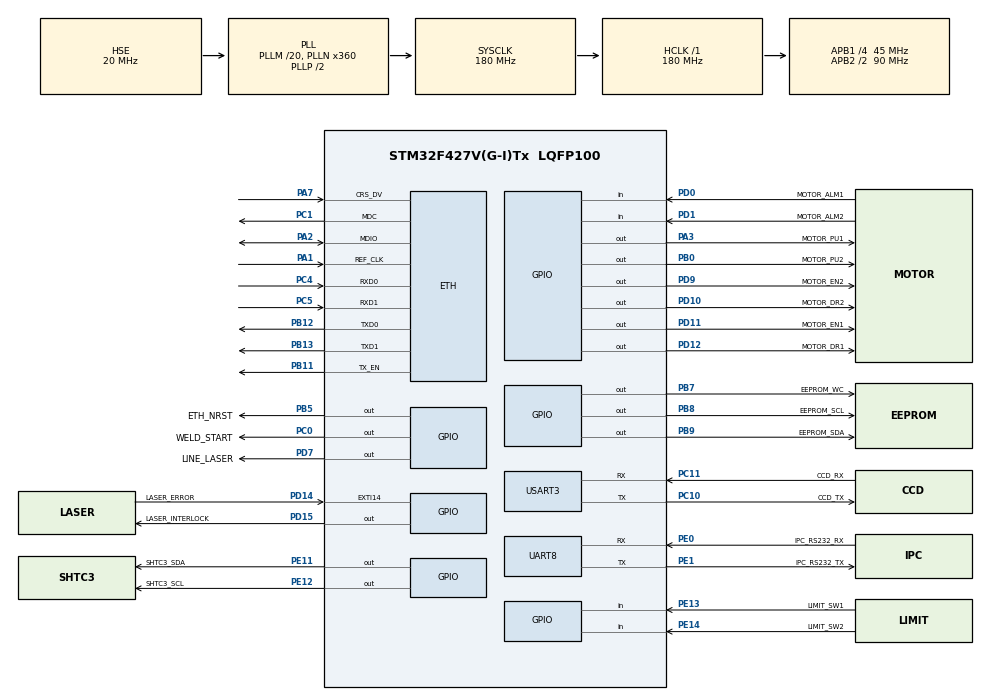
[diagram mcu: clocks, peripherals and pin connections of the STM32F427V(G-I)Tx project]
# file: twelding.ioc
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Dma.Request0=UART8_RX
Dma.Request1=USART3_RX
Dma.UART8_RX.0.Direction=DMA_PERIPH_TO_MEMORY
Dma.UART8_RX.0.FIFOMode=DMA_FIFOMODE_DISABLE
Dma.UART8_RX.0.Instance=DMA1_Stream6
Dma.UART8_RX.0.MemDataAlignment=DMA_MDATAALIGN_BYTE
Dma.UART8_RX.0.MemInc=DMA_MINC_ENABLE
Dma.UART8_RX.0.Mode=DMA_NORMAL
Dma.UART8_RX.0.PeriphDataAlignment=DMA_PDATAALIGN_BYTE
Dma.UART8_RX.0.PeriphInc=DMA_PINC_DISABLE
Dma.UART8_RX.0.Priority=DMA_PRIORITY_LOW
Dma.USART3_RX.1.Direction=DMA_PERIPH_TO_MEMORY
Dma.USART3_RX.1.FIFOMode=DMA_FIFOMODE_DISABLE
Dma.USART3_RX.1.Instance=DMA1_Stream1
Dma.USART3_RX.1.MemDataAlignment=DMA_MDATAALIGN_BYTE
Dma.USART3_RX.1.MemInc=DMA_MINC_ENABLE
Dma.USART3_RX.1.Mode=DMA_NORMAL
Dma.USART3_RX.1.PeriphDataAlignment=DMA_PDATAALIGN_BYTE
Dma.USART3_RX.1.PeriphInc=DMA_PINC_DISABLE
Dma.USART3_RX.1.Priority=DMA_PRIORITY_LOW
ETH.MediaInterface=ETH_MEDIA_INTERFACE_RMII
ETH.PHY_DUPLEX_STATUS=0x0010
ETH.PHY_Name_RMII=userPHY
ETH.PHY_SPEED_STATUS=0x0004
ETH.PHY_SR=31
ETH.PHY_User_Name=LAN8702A
ETH.PhyAddress=0
ETH.RxMode=ETH_RXINTERRUPT_MODE
FREERTOS.BinarySemaphores01=LaserAlarmBinarySem,Dynamic,NULL;MotorAlarm1BinarySem,Dynamic,NULL;MotorAlarm2BinarySem,Dynamic,NULL
FREERTOS.Mutexes01=IPCUartMutex,Dynamic,NULL;StepMotorXMutex,Dynamic,NULL;StepMotorYMutex,Dynamic,NULL;M24512Mutex,Dynamic,NULL;CCDUartMutex,Dynamic,NULL
FREERTOS.Queues01=IPCUartQueue,1,uint64_t,0,Dynamic,NULL,NULL;MotorControlQueue,20,uint64_t,0,Dynamic,NULL,NULL;CCDUartQueue,20,uint64_t,0,Dynamic,NULL,NULL;CmdhandleQueue,20,uint64_t,0,Dynamic,NULL,NULL;LaserEthernetQueue,20,uint64_t,0,Dynamic,NULL,NULL
FREERTOS.Tasks01=LwipTask,24,128,StartLwipTask,Default,NULL,Dynamic,NULL,NULL;SampleTask,8,128,StartSampleTask,Default,NULL,Dynamic,NULL,NULL;CmdHandleTask,8,128,StartCmdHandleTask,Default,NULL,Dynamic,NULL,NULL;ProtectTask,8,128,StartProtectTask,Default,NULL,Dynamic,NULL,NULL;MotorControlTask,8,128,StartMotorContorlTask,Default,NULL,Dynamic,NULL,NULL;IPCUartTask,8,128,StartIPCUartTask,Default,NULL,Dynamic,NULL,NULL;CCDUartTask,8,128,StartCCDUartTask,Default,NULL,Dynamic,NULL,NULL
FREERTOS.Timers01=TimeCountTimer,TimeCountCallback,osTimerPeriodic,Default,NULL,Dynamic,NULL;CheckCCDTimer,CheckCCDCallback,osTimerPeriodic,Default,NULL,Dynamic,NULL
FREERTOS.configMAX_TASK_NAME_LEN=32
FREERTOS.configUSE_NEWLIB_REENTRANT=1
LWIP.GATEWAY_ADDRESS=192.168.002.001
LWIP.IP_ADDRESS=192.168.002.038
LWIP.LWIP_DHCP=0
LWIP.NETMASK_ADDRESS=255.255.255.000
LWIP.Version=v2.1.2_Cube
Mcu.Family=STM32F4
Mcu.Name=STM32F427V(G-I)Tx
Mcu.Package=LQFP100
NVIC.DMA1_Stream1_IRQn=true\:5\:0\:false\:false\:true\:true\:false\:true
NVIC.DMA1_Stream6_IRQn=true\:5\:0\:true\:false\:true\:true\:false\:true
NVIC.ETH_IRQn=true\:5\:0\:false\:true\:true\:4\:true\:true\:true
NVIC.EXTI15_10_IRQn=true\:5\:0\:false\:true\:true\:2\:true\:true\:true
NVIC.PriorityGroup=NVIC_PRIORITYGROUP_4
NVIC.TIM6_DAC_IRQn=true\:15\:0\:false\:false\:true\:false\:false\:true
NVIC.TIM7_IRQn=true\:5\:0\:true\:true\:true\:3\:true\:true\:true
NVIC.TimeBase=TIM6_DAC_IRQn
NVIC.TimeBaseIP=TIM6
NVIC.UART8_IRQn=true\:5\:0\:true\:true\:true\:5\:true\:true\:true
NVIC.USART3_IRQn=true\:5\:0\:false\:true\:true\:1\:true\:true\:true
PA1.Mode=RMII
PA1.Signal=ETH_REF_CLK
PA13.Mode=Serial_Wire
PA13.Signal=SYS_JTMS-SWDIO
PA14.Mode=Serial_Wire
PA14.Signal=SYS_JTCK-SWCLK
PA2.Mode=RMII
PA2.Signal=ETH_MDIO
PA3.GPIO_Label=MOTOR_PU1
PA3.Signal=GPIO_Output
PA7.Mode=RMII
PA7.Signal=ETH_CRS_DV
PB0.GPIO_Label=MOTOR_PU2
PB0.Signal=GPIO_Output
PB11.Mode=RMII
PB11.Signal=ETH_TX_EN
PB12.Mode=RMII
PB12.Signal=ETH_TXD0
PB13.Mode=RMII
PB13.Signal=ETH_TXD1
PB5.GPIO_Label=ETH_NRST
PB5.PinState=GPIO_PIN_SET
PB5.Signal=GPIO_Output
PB7.GPIO_Label=EEPROM_WC
PB7.Signal=GPIO_Output
PB8.GPIO_Label=EEPROM_SCL
PB8.Signal=GPIO_Output
PB9.GPIO_Label=EEPROM_SDA
PB9.Signal=GPIO_Output
PC0.GPIO_Label=WELD_START
PC0.Signal=GPIO_Output
PC1.Mode=RMII
PC1.Signal=ETH_MDC
PC10.GPIO_Label=CCD_TX
PC10.Mode=Asynchronous
PC10.Signal=USART3_TX
PC11.GPIO_Label=CCD_RX
PC11.Mode=Asynchronous
PC11.Signal=USART3_RX
PC14/OSC32_IN.Mode=LSE-External-Oscillator
PC14/OSC32_IN.Signal=RCC_OSC32_IN
PC15/OSC32_OUT.Mode=LSE-External-Oscillator
PC15/OSC32_OUT.Signal=RCC_OSC32_OUT
PC4.Mode=RMII
PC4.Signal=ETH_RXD0
PC5.Mode=RMII
PC5.Signal=ETH_RXD1
PD0.GPIO_Label=MOTOR_ALM1
PD0.Signal=GPIO_Input
PD1.GPIO_Label=MOTOR_ALM2
PD1.Signal=GPIO_Input
PD10.GPIO_Label=MOTOR_DR2
PD10.GPIO_Speed=GPIO_SPEED_FREQ_LOW
PD10.Signal=GPIO_Output
PD11.GPIO_Label=MOTOR_EN1
PD11.Signal=GPIO_Output
PD12.GPIO_Label=MOTOR_DR1
PD12.Signal=GPIO_Output
PD14.GPIO_Label=LASER_ERROR
PD14.Signal=GPXTI14
PD15.GPIO_Label=LASER_INTERLOCK
PD15.Signal=GPIO_Output
PD7.GPIO_Label=LINE_LASER
PD7.Signal=GPIO_Output
PD9.GPIO_Label=MOTOR_EN2
PD9.Signal=GPIO_Output
PE0.GPIO_Label=IPC_RS232_RX
PE0.Mode=Asynchronous
PE0.Signal=UART8_RX
PE1.GPIO_Label=IPC_RS232_TX
PE1.Mode=Asynchronous
PE1.Signal=UART8_TX
PE11.GPIO_Label=SHTC3_SDA
PE11.Signal=GPIO_Output
PE12.GPIO_Label=SHTC3_SCL
PE12.Signal=GPIO_Output
PE13.GPIO_Label=LIMIT_SW1
PE13.Signal=GPIO_Input
PE14.GPIO_Label=LIMIT_SW2
PE14.Signal=GPIO_Input
PH0/OSC_IN.Mode=HSE-External-Oscillator
PH0/OSC_IN.Signal=RCC_OSC_IN
PH1/OSC_OUT.Mode=HSE-External-Oscillator
PH1/OSC_OUT.Signal=RCC_OSC_OUT
ProjectManager.HeapSize=0x200
ProjectManager.StackSize=0x400
ProjectManager.TargetToolchain=STM32CubeIDE
RCC.48MHZClocksFreq_Value=90000000
RCC.AHBFreq_Value=180000000
RCC.APB1CLKDivider=RCC_HCLK_DIV4
RCC.APB1Freq_Value=45000000
RCC.APB1TimFreq_Value=90000000
RCC.APB2CLKDivider=RCC_HCLK_DIV2
RCC.APB2Freq_Value=90000000
RCC.APB2TimFreq_Value=180000000
RCC.CortexFreq_Value=180000000
RCC.HCLKFreq_Value=180000000
RCC.HSE_VALUE=20000000
RCC.HSI_VALUE=16000000
RCC.PLLM=20
RCC.PLLN=360
RCC.PLLSourceVirtual=RCC_PLLSOURCE_HSE
RCC.RCC_RTC_Clock_SourceVirtual=RCC_RTCCLKSOURCE_LSE
RCC.SYSCLKFreq_VALUE=180000000
RCC.SYSCLKSource=RCC_SYSCLKSOURCE_PLLCLK
RCC.VCOOutputFreq_Value=360000000
RTC.Format=RTC_FORMAT_BIN
TIM7.AutoReloadPreload=TIM_AUTORELOAD_PRELOAD_ENABLE
TIM7.Period=10000
TIM7.Prescaler=9000
UART8.VirtualMode=Asynchronous
USART3.VirtualMode=VM_ASYNC
VP_FREERTOS_VS_CMSIS_V2.Mode=CMSIS_V2
VP_LWIP_VS_Enabled.Mode=Enabled
VP_RTC_VS_RTC_Activate.Mode=RTC_Enabled
VP_RTC_VS_RTC_Calendar.Mode=RTC_Calendar
VP_SYS_VS_tim6.Mode=TIM6
VP_TIM7_VS_ClockSourceINT.Mode=Enable_Timer
board=custom

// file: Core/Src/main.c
/* USER CODE BEGIN Header */
/**
  ******************************************************************************
  * @file           : main.c
  * @brief          : Main program body
  ******************************************************************************
  * @attention
  *
  * Copyright (c) 2022 STMicroelectronics.
  * All rights reserved.
  *
  * This software is licensed under terms that can be found in the LICENSE file
  * in the root directory of this software component.
  * If no LICENSE file comes with this software, it is provided AS-IS.
  *
  ******************************************************************************
  *
  * Company: Jacalt Laser Corp.
  * Author: J. Xu
  * Date: 20220506
  * Version: V1.2.0
  *
  */
/* USER CODE END Header */
#include "main.h"
#include "cmsis_os.h"
#include "lwip.h"

/* USER CODE BEGIN Includes */
#include <string.h>
#include "api.h"
#include "sysinit.h"
#include "cmd.h"
#include "algorithm.h"
#include "communicate.h"
#include "stepmotor.h"
#include "seamfind.h"
#include "tcp_client.h"
/* USER CODE END Includes */

RTC_HandleTypeDef hrtc;

TIM_HandleTypeDef htim7;

UART_HandleTypeDef huart8;
UART_HandleTypeDef huart3;
DMA_HandleTypeDef hdma_uart8_rx;
DMA_HandleTypeDef hdma_usart3_rx;

/* Definitions for LwipTask */
osThreadId_t LwipTaskHandle;
const osThreadAttr_t LwipTask_attributes = {
  .name = "LwipTask",
  .stack_size = 128 * 4,
  .priority = (osPriority_t) osPriorityNormal,
};
/* Definitions for SampleTask */
osThreadId_t SampleTaskHandle;
const osThreadAttr_t SampleTask_attributes = {
  .name = "SampleTask",
  .stack_size = 128 * 4,
  .priority = (osPriority_t) osPriorityLow,
};
/* Definitions for CmdHandleTask */
osThreadId_t CmdHandleTaskHandle;
const osThreadAttr_t CmdHandleTask_attributes = {
  .name = "CmdHandleTask",
  .stack_size = 128 * 4,
  .priority = (osPriority_t) osPriorityLow,
};
/* Definitions for ProtectTask */
osThreadId_t ProtectTaskHandle;
const osThreadAttr_t ProtectTask_attributes = {
  .name = "ProtectTask",
  .stack_size = 128 * 4,
  .priority = (osPriority_t) osPriorityLow,
};
/* Definitions for MotorControlTask */
osThreadId_t MotorControlTaskHandle;
const osThreadAttr_t MotorControlTask_attributes = {
  .name = "MotorControlTask",
  .stack_size = 128 * 4,
  .priority = (osPriority_t) osPriorityLow,
};
/* Definitions for IPCUartTask */
osThreadId_t IPCUartTaskHandle;
const osThreadAttr_t IPCUartTask_attributes = {
  .name = "IPCUartTask",
  .stack_size = 128 * 4,
  .priority = (osPriority_t) osPriorityLow,
};
/* Definitions for CCDUartTask */
osThreadId_t CCDUartTaskHandle;
const osThreadAttr_t CCDUartTask_attributes = {
  .name = "CCDUartTask",
  .stack_size = 128 * 4,
  .priority = (osPriority_t) osPriorityLow,
};
/* Definitions for IPCUartQueue */
osMessageQueueId_t IPCUartQueueHandle;
const osMessageQueueAttr_t IPCUartQueue_attributes = {
  .name = "IPCUartQueue"
};
/* Definitions for MotorControlQueue */
osMessageQueueId_t MotorControlQueueHandle;
const osMessageQueueAttr_t MotorControlQueue_attributes = {
  .name = "MotorControlQueue"
};
/* Definitions for CCDUartQueue */
osMessageQueueId_t CCDUartQueueHandle;
const osMessageQueueAttr_t CCDUartQueue_attributes = {
  .name = "CCDUartQueue"
};
/* Definitions for CmdhandleQueue */
osMessageQueueId_t CmdhandleQueueHandle;
const osMessageQueueAttr_t CmdhandleQueue_attributes = {
  .name = "CmdhandleQueue"
};
/* Definitions for LaserEthernetQueue */
osMessageQueueId_t LaserEthernetQueueHandle;
const osMessageQueueAttr_t LaserEthernetQueue_attributes = {
  .name = "LaserEthernetQueue"
};
/* Definitions for TimeCountTimer */
osTimerId_t TimeCountTimerHandle;
const osTimerAttr_t TimeCountTimer_attributes = {
  .name = "TimeCountTimer"
};
/* Definitions for CheckCCDTimer */
osTimerId_t CheckCCDTimerHandle;
const osTimerAttr_t CheckCCDTimer_attributes = {
  .name = "CheckCCDTimer"
};
/* Definitions for IPCUartMutex */
osMutexId_t IPCUartMutexHandle;
const osMutexAttr_t IPCUartMutex_attributes = {
  .name = "IPCUartMutex"
};
/* Definitions for StepMotorXMutex */
osMutexId_t StepMotorXMutexHandle;
const osMutexAttr_t StepMotorXMutex_attributes = {
  .name = "StepMotorXMutex"
};
/* Definitions for StepMotorYMutex */
osMutexId_t StepMotorYMutexHandle;
const osMutexAttr_t StepMotorYMutex_attributes = {
  .name = "StepMotorYMutex"
};
/* Definitions for M24512Mutex */
osMutexId_t M24512MutexHandle;
const osMutexAttr_t M24512Mutex_attributes = {
  .name = "M24512Mutex"
};
/* Definitions for CCDUartMutex */
osMutexId_t CCDUartMutexHandle;
const osMutexAttr_t CCDUartMutex_attributes = {
  .name = "CCDUartMutex"
};
/* Definitions for LaserAlarmBinarySem */
osSemaphoreId_t LaserAlarmBinarySemHandle;
const osSemaphoreAttr_t LaserAlarmBinarySem_attributes = {
  .name = "LaserAlarmBinarySem"
};
/* Definitions for MotorAlarm1BinarySem */
osSemaphoreId_t MotorAlarm1BinarySemHandle;
const osSemaphoreAttr_t MotorAlarm1BinarySem_attributes = {
  .name = "MotorAlarm1BinarySem"
};
/* Definitions for MotorAlarm2BinarySem */
osSemaphoreId_t MotorAlarm2BinarySemHandle;
const osSemaphoreAttr_t MotorAlarm2BinarySem_attributes = {
  .name = "MotorAlarm2BinarySem"
};
/* USER CODE BEGIN PV */
RTC_TimeTypeDef TimeNow;
RTC_DateTypeDef DateNow;

float shtc3_temp;
float shtc3_hum;

uint8_t CCD_rx_buffer[8000];
uint8_t IPC_rx_buffer[DMA_RECV_LEN] = {0};
uint32_t current_welding_length = 0;
uint8_t warning[WARNING_BYTE] = {0};
uint32_t total_welding_length;

uint8_t x_degree;
uint8_t y_degree;
/* USER CODE END PV */

void SystemClock_Config(void);
static void MX_GPIO_Init(void);
static void MX_RTC_Init(void);
static void MX_DMA_Init(void);
static void MX_UART8_Init(void);
static void MX_TIM7_Init(void);
static void MX_USART3_UART_Init(void);
void StartLwipTask(void *argument);
void StartSampleTask(void *argument);
void StartCmdHandleTask(void *argument);
void StartProtectTask(void *argument);
void StartMotorContorlTask(void *argument);
void StartIPCUartTask(void *argument);
void StartCCDUartTask(void *argument);
void TimeCountCallback(void *argument);
void CheckCCDCallback(void *argument);

static void MX_NVIC_Init(void);

int main(void)
{

  /* MCU Configuration--------------------------------------------------------*/

  /* Reset of all peripherals, Initializes the Flash interface and the Systick. */
  HAL_Init();

  /* Configure the system clock */
  SystemClock_Config();

  /* Initialize all configured peripherals */
  MX_GPIO_Init();
  MX_RTC_Init();
  MX_DMA_Init();
  MX_UART8_Init();
  MX_TIM7_Init();
  MX_USART3_UART_Init();

  /* Initialize interrupts */
  MX_NVIC_Init();
  /* USER CODE BEGIN 2 */

  //-- The hardware initialized successful.
  HAL_UART_Transmit(&huart8, (uint8_t*)"Hello World\r\n", sizeof("Hello World\r\n")-1, 50);
  software_init();    // system initialize
  get_eeprom_data();  // read EEPROM
  check_machine();    // self checking of board and the machines

  /* USER CODE END 2 */

  /* Init scheduler */
  osKernelInitialize();
  /* Create the mutex(es) */
  /* creation of IPCUartMutex */
  IPCUartMutexHandle = osMutexNew(&IPCUartMutex_attributes);

  /* creation of StepMotorXMutex */
  StepMotorXMutexHandle = osMutexNew(&StepMotorXMutex_attributes);

  /* creation of StepMotorYMutex */
  StepMotorYMutexHandle = osMutexNew(&StepMotorYMutex_attributes);

  /* creation of M24512Mutex */
  M24512MutexHandle = osMutexNew(&M24512Mutex_attributes);

  /* creation of CCDUartMutex */
  CCDUartMutexHandle = osMutexNew(&CCDUartMutex_attributes);

  /* Create the semaphores(s) */
  /* creation of LaserAlarmBinarySem */
  LaserAlarmBinarySemHandle = osSemaphoreNew(1, 1, &LaserAlarmBinarySem_attributes);

  /* creation of MotorAlarm1BinarySem */
  MotorAlarm1BinarySemHandle = osSemaphoreNew(1, 1, &MotorAlarm1BinarySem_attributes);

  /* creation of MotorAlarm2BinarySem */
  MotorAlarm2BinarySemHandle = osSemaphoreNew(1, 1, &MotorAlarm2BinarySem_attributes);

  /* Create the timer(s) */
  /* creation of TimeCountTimer */
  TimeCountTimerHandle = osTimerNew(TimeCountCallback, osTimerPeriodic, NULL, &TimeCountTimer_attributes);

  /* creation of CheckCCDTimer */
  CheckCCDTimerHandle = osTimerNew(CheckCCDCallback, osTimerPeriodic, NULL, &CheckCCDTimer_attributes);

  /* USER CODE BEGIN RTOS_TIMERS */
  /* start timers, add new ones, ... */
  osTimerStart(TimeCountTimerHandle, 1000);  // start time count each 1s
  osTimerStart(CheckCCDTimerHandle, 5000);   // read CCD data each 5s

  /* USER CODE END RTOS_TIMERS */

  /* Create the queue(s) */
  /* creation of IPCUartQueue */
  IPCUartQueueHandle = osMessageQueueNew (1, sizeof(uint64_t), &IPCUartQueue_attributes);

  /* creation of MotorControlQueue */
  MotorControlQueueHandle = osMessageQueueNew (20, sizeof(uint64_t), &MotorControlQueue_attributes);

  /* creation of CCDUartQueue */
  CCDUartQueueHandle = osMessageQueueNew (20, sizeof(uint64_t), &CCDUartQueue_attributes);

  /* creation of CmdhandleQueue */
  CmdhandleQueueHandle = osMessageQueueNew (20, sizeof(uint64_t), &CmdhandleQueue_attributes);

  /* creation of LaserEthernetQueue */
  LaserEthernetQueueHandle = osMessageQueueNew (20, sizeof(uint64_t), &LaserEthernetQueue_attributes);

  /* Create the thread(s) */
  /* creation of LwipTask */
  LwipTaskHandle = osThreadNew(StartLwipTask, NULL, &LwipTask_attributes);

  /* creation of SampleTask */
  SampleTaskHandle = osThreadNew(StartSampleTask, NULL, &SampleTask_attributes);

  /* creation of CmdHandleTask */
  CmdHandleTaskHandle = osThreadNew(StartCmdHandleTask, NULL, &CmdHandleTask_attributes);

  /* creation of ProtectTask */
  ProtectTaskHandle = osThreadNew(StartProtectTask, NULL, &ProtectTask_attributes);

  /* creation of MotorControlTask */
  MotorControlTaskHandle = osThreadNew(StartMotorContorlTask, NULL, &MotorControlTask_attributes);

  /* creation of IPCUartTask */
  IPCUartTaskHandle = osThreadNew(StartIPCUartTask, NULL, &IPCUartTask_attributes);

  /* creation of CCDUartTask */
  CCDUartTaskHandle = osThreadNew(StartCCDUartTask, NULL, &CCDUartTask_attributes);

  /* Start scheduler */
  osKernelStart();

  /* We should never get here as control is now taken by the scheduler */
  /* Infinite loop */
  while (1)
  {

  }
}

void SystemClock_Config(void)
{
  RCC_OscInitTypeDef RCC_OscInitStruct = {0};
  RCC_ClkInitTypeDef RCC_ClkInitStruct = {0};

  /** Configure the main internal regulator output voltage
  */
  __HAL_RCC_PWR_CLK_ENABLE();
  __HAL_PWR_VOLTAGESCALING_CONFIG(PWR_REGULATOR_VOLTAGE_SCALE1);
  /** Initializes the RCC Oscillators according to the specified parameters
  * in the RCC_OscInitTypeDef structure.
  */
  RCC_OscInitStruct.OscillatorType = RCC_OSCILLATORTYPE_HSE|RCC_OSCILLATORTYPE_LSE;
  RCC_OscInitStruct.HSEState = RCC_HSE_ON;
  RCC_OscInitStruct.LSEState = RCC_LSE_ON;
  RCC_OscInitStruct.PLL.PLLState = RCC_PLL_ON;
  RCC_OscInitStruct.PLL.PLLSource = RCC_PLLSOURCE_HSE;
  RCC_OscInitStruct.PLL.PLLM = 20;
  RCC_OscInitStruct.PLL.PLLN = 360;
  RCC_OscInitStruct.PLL.PLLP = RCC_PLLP_DIV2;
  RCC_OscInitStruct.PLL.PLLQ = 4;
  if (HAL_RCC_OscConfig(&RCC_OscInitStruct) != HAL_OK)
  {
    Error_Handler();
  }
  /** Activate the Over-Drive mode
  */
  if (HAL_PWREx_EnableOverDrive() != HAL_OK)
  {
    Error_Handler();
  }
  /** Initializes the CPU, AHB and APB buses clocks
  */
  RCC_ClkInitStruct.ClockType = RCC_CLOCKTYPE_HCLK|RCC_CLOCKTYPE_SYSCLK
                              |RCC_CLOCKTYPE_PCLK1|RCC_CLOCKTYPE_PCLK2;
  RCC_ClkInitStruct.SYSCLKSource = RCC_SYSCLKSOURCE_PLLCLK;
  RCC_ClkInitStruct.AHBCLKDivider = RCC_SYSCLK_DIV1;
  RCC_ClkInitStruct.APB1CLKDivider = RCC_HCLK_DIV4;
  RCC_ClkInitStruct.APB2CLKDivider = RCC_HCLK_DIV2;

  if (HAL_RCC_ClockConfig(&RCC_ClkInitStruct, FLASH_LATENCY_5) != HAL_OK)
  {
    Error_Handler();
  }
}

/**
  * @brief NVIC Configuration.
  * @retval None
  */
static void MX_NVIC_Init(void)
{
  /* USART3_IRQn interrupt configuration */
  HAL_NVIC_SetPriority(USART3_IRQn, 5, 0);
  HAL_NVIC_EnableIRQ(USART3_IRQn);
  /* EXTI15_10_IRQn interrupt configuration */
  HAL_NVIC_SetPriority(EXTI15_10_IRQn, 5, 0);
  HAL_NVIC_EnableIRQ(EXTI15_10_IRQn);
  /* TIM7_IRQn interrupt configuration */
  HAL_NVIC_SetPriority(TIM7_IRQn, 5, 0);
  HAL_NVIC_EnableIRQ(TIM7_IRQn);
  /* ETH_IRQn interrupt configuration */
  HAL_NVIC_SetPriority(ETH_IRQn, 5, 0);
  HAL_NVIC_EnableIRQ(ETH_IRQn);
  /* UART8_IRQn interrupt configuration */
  HAL_NVIC_SetPriority(UART8_IRQn, 5, 0);
  HAL_NVIC_EnableIRQ(UART8_IRQn);
}

static void MX_RTC_Init(void)
{

  RTC_TimeTypeDef sTime = {0};
  RTC_DateTypeDef sDate = {0};

  /** Initialize RTC Only
  */
  hrtc.Instance = RTC;
  hrtc.Init.HourFormat = RTC_HOURFORMAT_24;
  hrtc.Init.AsynchPrediv = 127;
  hrtc.Init.SynchPrediv = 255;
  hrtc.Init.OutPut = RTC_OUTPUT_DISABLE;
  hrtc.Init.OutPutPolarity = RTC_OUTPUT_POLARITY_HIGH;
  hrtc.Init.OutPutType = RTC_OUTPUT_TYPE_OPENDRAIN;
  if (HAL_RTC_Init(&hrtc) != HAL_OK)
  {
    Error_Handler();
  }

  /** Initialize RTC and set the Time and Date
  */
  sTime.Hours = 0;
  sTime.Minutes = 0;
  sTime.Seconds = 0;
  sTime.DayLightSaving = RTC_DAYLIGHTSAVING_NONE;
  sTime.StoreOperation = RTC_STOREOPERATION_RESET;
  if (HAL_RTC_SetTime(&hrtc, &sTime, RTC_FORMAT_BIN) != HAL_OK)
  {
    Error_Handler();
  }
  sDate.WeekDay = RTC_WEEKDAY_MONDAY;
  sDate.Month = RTC_MONTH_JANUARY;
  sDate.Date = 1;
  sDate.Year = 0;

  if (HAL_RTC_SetDate(&hrtc, &sDate, RTC_FORMAT_BIN) != HAL_OK)
  {
    Error_Handler();
  }

}

static void MX_TIM7_Init(void)
{

  TIM_MasterConfigTypeDef sMasterConfig = {0};

  htim7.Instance = TIM7;
  htim7.Init.Prescaler = 9000;
  htim7.Init.CounterMode = TIM_COUNTERMODE_UP;
  htim7.Init.Period = 10000;
  htim7.Init.AutoReloadPreload = TIM_AUTORELOAD_PRELOAD_ENABLE;
  if (HAL_TIM_Base_Init(&htim7) != HAL_OK)
  {
    Error_Handler();
  }
  sMasterConfig.MasterOutputTrigger = TIM_TRGO_RESET;
  sMasterConfig.MasterSlaveMode = TIM_MASTERSLAVEMODE_DISABLE;
  if (HAL_TIMEx_MasterConfigSynchronization(&htim7, &sMasterConfig) != HAL_OK)
  {
    Error_Handler();
  }
  /* USER CODE BEGIN TIM7_Init 2 */

  HAL_TIM_Base_Start_IT(&INIT_TIM);  // start the timer

  /* USER CODE END TIM7_Init 2 */

}

static void MX_UART8_Init(void)
{

  huart8.Instance = UART8;
  huart8.Init.BaudRate = 115200;
  huart8.Init.WordLength = UART_WORDLENGTH_8B;
  huart8.Init.StopBits = UART_STOPBITS_1;
  huart8.Init.Parity = UART_PARITY_NONE;
  huart8.Init.Mode = UART_MODE_TX_RX;
  huart8.Init.HwFlowCtl = UART_HWCONTROL_NONE;
  huart8.Init.OverSampling = UART_OVERSAMPLING_16;
  if (HAL_UART_Init(&huart8) != HAL_OK)
  {
    Error_Handler();
  }
  /* USER CODE BEGIN UART8_Init 2 */
  //-- idle interrupt and DMA receive
  __HAL_UART_ENABLE_IT(&IPC_UART, UART_IT_IDLE);
  HAL_UART_Receive_DMA(&IPC_UART, IPC_rx_buffer, sizeof(IPC_rx_buffer));

  /* USER CODE END UART8_Init 2 */

}

static void MX_USART3_UART_Init(void)
{

  huart3.Instance = USART3;
  huart3.Init.BaudRate = 115200;
  huart3.Init.WordLength = UART_WORDLENGTH_8B;
  huart3.Init.StopBits = UART_STOPBITS_1;
  huart3.Init.Parity = UART_PARITY_NONE;
  huart3.Init.Mode = UART_MODE_TX_RX;
  huart3.Init.HwFlowCtl = UART_HWCONTROL_NONE;
  huart3.Init.OverSampling = UART_OVERSAMPLING_16;
  if (HAL_UART_Init(&huart3) != HAL_OK)
  {
    Error_Handler();
  }
  /* USER CODE BEGIN USART3_Init 2 */

  __HAL_UART_ENABLE_IT(&CCD_UART, UART_IT_IDLE);
  HAL_UART_Receive_DMA(&CCD_UART, CCD_rx_buffer, sizeof(CCD_rx_buffer));

  /* USER CODE END USART3_Init 2 */

}

static void MX_DMA_Init(void)
{

  /* DMA controller clock enable */
  __HAL_RCC_DMA1_CLK_ENABLE();

  /* DMA interrupt init */
  /* DMA1_Stream1_IRQn interrupt configuration */
  HAL_NVIC_SetPriority(DMA1_Stream1_IRQn, 5, 0);
  HAL_NVIC_EnableIRQ(DMA1_Stream1_IRQn);
  /* DMA1_Stream6_IRQn interrupt configuration */
  HAL_NVIC_SetPriority(DMA1_Stream6_IRQn, 5, 0);
  HAL_NVIC_EnableIRQ(DMA1_Stream6_IRQn);

}

static void MX_GPIO_Init(void)
{
  GPIO_InitTypeDef GPIO_InitStruct = {0};

  /* GPIO Ports Clock Enable */
  __HAL_RCC_GPIOC_CLK_ENABLE();
  __HAL_RCC_GPIOH_CLK_ENABLE();
  __HAL_RCC_GPIOA_CLK_ENABLE();
  __HAL_RCC_GPIOB_CLK_ENABLE();
  __HAL_RCC_GPIOE_CLK_ENABLE();
  __HAL_RCC_GPIOD_CLK_ENABLE();

  /*Configure GPIO pin Output Level */
  HAL_GPIO_WritePin(WELD_START_GPIO_Port, WELD_START_Pin, GPIO_PIN_RESET);

  /*Configure GPIO pin Output Level */
  HAL_GPIO_WritePin(MOTOR_PU1_GPIO_Port, MOTOR_PU1_Pin, GPIO_PIN_RESET);

  /*Configure GPIO pin Output Level */
  HAL_GPIO_WritePin(GPIOB, MOTOR_PU2_Pin|EEPROM_WC_Pin|EEPROM_SCL_Pin|EEPROM_SDA_Pin, GPIO_PIN_RESET);

  /*Configure GPIO pin Output Level */
  HAL_GPIO_WritePin(GPIOE, SHTC3_SDA_Pin|SHTC3_SCL_Pin, GPIO_PIN_RESET);

  /*Configure GPIO pin Output Level */
  HAL_GPIO_WritePin(GPIOD, MOTOR_EN2_Pin|MOTOR_DR2_Pin|MOTOR_EN1_Pin|MOTOR_DR1_Pin
                          |LASER_INTERLOCK_Pin|LINE_LASER_Pin, GPIO_PIN_RESET);

  /*Configure GPIO pin Output Level */
  HAL_GPIO_WritePin(ETH_NRST_GPIO_Port, ETH_NRST_Pin, GPIO_PIN_SET);

  /*Configure GPIO pin : WELD_START_Pin */
  GPIO_InitStruct.Pin = WELD_START_Pin;
  GPIO_InitStruct.Mode = GPIO_MODE_OUTPUT_PP;
  GPIO_InitStruct.Pull = GPIO_NOPULL;
  GPIO_InitStruct.Speed = GPIO_SPEED_FREQ_LOW;
  HAL_GPIO_Init(WELD_START_GPIO_Port, &GPIO_InitStruct);

  /*Configure GPIO pin : MOTOR_PU1_Pin */
  GPIO_InitStruct.Pin = MOTOR_PU1_Pin;
  GPIO_InitStruct.Mode = GPIO_MODE_OUTPUT_PP;
  GPIO_InitStruct.Pull = GPIO_NOPULL;
  GPIO_InitStruct.Speed = GPIO_SPEED_FREQ_LOW;
  HAL_GPIO_Init(MOTOR_PU1_GPIO_Port, &GPIO_InitStruct);

  /*Configure GPIO pins : MOTOR_PU2_Pin ETH_NRST_Pin EEPROM_WC_Pin EEPROM_SCL_Pin
                           EEPROM_SDA_Pin */
  GPIO_InitStruct.Pin = MOTOR_PU2_Pin|ETH_NRST_Pin|EEPROM_WC_Pin|EEPROM_SCL_Pin
                          |EEPROM_SDA_Pin;
  GPIO_InitStruct.Mode = GPIO_MODE_OUTPUT_PP;
  GPIO_InitStruct.Pull = GPIO_NOPULL;
  GPIO_InitStruct.Speed = GPIO_SPEED_FREQ_LOW;
  HAL_GPIO_Init(GPIOB, &GPIO_InitStruct);

  /*Configure GPIO pins : SHTC3_SDA_Pin SHTC3_SCL_Pin */
  GPIO_InitStruct.Pin = SHTC3_SDA_Pin|SHTC3_SCL_Pin;
  GPIO_InitStruct.Mode = GPIO_MODE_OUTPUT_PP;
  GPIO_InitStruct.Pull = GPIO_NOPULL;
  GPIO_InitStruct.Speed = GPIO_SPEED_FREQ_LOW;
  HAL_GPIO_Init(GPIOE, &GPIO_InitStruct);

  /*Configure GPIO pins : LIMIT_SW1_Pin LIMIT_SW2_Pin */
  GPIO_InitStruct.Pin = LIMIT_SW1_Pin|LIMIT_SW2_Pin;
  GPIO_InitStruct.Mode = GPIO_MODE_INPUT;
  GPIO_InitStruct.Pull = GPIO_NOPULL;
  HAL_GPIO_Init(GPIOE, &GPIO_InitStruct);

  /*Configure GPIO pins : MOTOR_EN2_Pin MOTOR_DR2_Pin MOTOR_EN1_Pin MOTOR_DR1_Pin
                           LASER_INTERLOCK_Pin LINE_LASER_Pin */
  GPIO_InitStruct.Pin = MOTOR_EN2_Pin|MOTOR_DR2_Pin|MOTOR_EN1_Pin|MOTOR_DR1_Pin
                          |LASER_INTERLOCK_Pin|LINE_LASER_Pin;
  GPIO_InitStruct.Mode = GPIO_MODE_OUTPUT_PP;
  GPIO_InitStruct.Pull = GPIO_NOPULL;
  GPIO_InitStruct.Speed = GPIO_SPEED_FREQ_LOW;
  HAL_GPIO_Init(GPIOD, &GPIO_InitStruct);

  /*Configure GPIO pin : LASER_ERROR_Pin */
  GPIO_InitStruct.Pin = LASER_ERROR_Pin;
  GPIO_InitStruct.Mode = GPIO_MODE_IT_RISING;
  GPIO_InitStruct.Pull = GPIO_NOPULL;
  HAL_GPIO_Init(LASER_ERROR_GPIO_Port, &GPIO_InitStruct);

  /*Configure GPIO pins : MOTOR_ALM1_Pin MOTOR_ALM2_Pin */
  GPIO_InitStruct.Pin = MOTOR_ALM1_Pin|MOTOR_ALM2_Pin;
  GPIO_InitStruct.Mode = GPIO_MODE_INPUT;
  GPIO_InitStruct.Pull = GPIO_NOPULL;
  HAL_GPIO_Init(GPIOD, &GPIO_InitStruct);

}

/* USER CODE BEGIN 4 */
/******************************************************************************
 * User Task functions
 ******************************************************************************/
/* USER CODE END 4 */

/* USER CODE BEGIN Header_StartLwipTask */
/**
  * @brief  Function implementing the LwipTask thread.
  * @param  argument: Not used
  * @retval None
  *
  * Function: initialize LwIP protocol and connected to the laser
  *           IP address of board is set in MX_LWIP_INIT()
  */
/* USER CODE END Header_StartLwipTask */
void StartLwipTask(void *argument)
{
  /* init code for LWIP */
  MX_LWIP_Init();
  /* USER CODE BEGIN 5 */
  uint8_t msg_prio = 0;
  uint8_t cmd_len;
  uint8_t recv_data[DMA_RECV_LEN] = {0};
  struct netconn *laser_conn;

  laser_conn = laser_tcp_init();

  /* Infinite loop */
  for(;;)
  {
	  if(osOK == osMessageQueueGet((osMessageQueueId_t)LaserEthernetQueueHandle,
				 				    (void *)recv_data,
								    (uint8_t *)&msg_prio,
								    (uint32_t)osWaitForever))
	  {
		  cmd_len = recv_data[2];
		  laser_tcp_comm(recv_data, cmd_len, laser_conn);
	  }

	  osDelay(100);
  }
  /* USER CODE END 5 */
}

void StartSampleTask(void *argument)
{
  for(;;)
  {
    osDelay(1);
  }
}

/* USER CODE BEGIN Header_StartCmdHandleTask */
/**
* @brief Function implementing the CmdHandleTask thread.
* @param argument: Not used
* @retval None
*
* Function: call command parsing program
*/
/* USER CODE END Header_StartCmdHandleTask */
void StartCmdHandleTask(void *argument)
{
  /* USER CODE BEGIN StartCmdHandleTask */
	uint8_t msg_prio = 0;
	uint8_t recv_data[DMA_RECV_LEN] = {0};
  /* Infinite loop */
  for (;;)
  {
	  if(osOK == osMessageQueueGet((osMessageQueueId_t)CmdhandleQueueHandle,
				 				    (void *)recv_data,
								    (uint8_t *)&msg_prio,
								    (uint32_t)osWaitForever))
	  {
		  Cmd_Handle(recv_data, recv_data[2]+3);
	  }
    osDelay(1);
  }
  /* USER CODE END StartCmdHandleTask */
}

/* USER CODE BEGIN Header_StartProtectTask */
/**
* @brief Function implementing the ProtectTask thread.
* @param argument: Not used
* @retval None
*
* Function: set warning bits of the stepmotors when they in alarm status.
*           When the master asks the warning information.
* Warning information: 2x8 byte W1W2, where W2 is not used.
*                      X motor error: B0000 0001
*                      Y motor error: B0000 0010
*/
/* USER CODE END Header_StartProtectTask */
void StartProtectTask(void *argument)
{
  /* USER CODE BEGIN StartProtectTask */
  /* Infinite loop */
	 for (;;)
	  {
		 //-- X stepmoter
		 if (HAL_GPIO_ReadPin(MOTOR_ALM1_GPIO_Port, MOTOR_ALM1_Pin) == GPIO_PIN_SET)
			  warning[0] |= STEPMOTOR_X_WARNING_BIT;
		 else
			  warning[0] &= ~STEPMOTOR_X_WARNING_BIT;

		 //-- Y stepmotor
		  if (HAL_GPIO_ReadPin(MOTOR_ALM2_GPIO_Port, MOTOR_ALM2_Pin) == GPIO_PIN_SET)
			  warning[0] |= STEPMOTOR_Y_WARNING_BIT;
		  else
			  warning[0] &= ~STEPMOTOR_Y_WARNING_BIT;

	      osDelay(100);
	  }
  /* USER CODE END StartProtectTask */
}

void StartMotorContorlTask(void *argument)
{
  /* USER CODE BEGIN StartMotorContorlTask */
	typedef_stepmotor_para stepmotor_para = {0};
	uint8_t msg_prio = 0;

  /* Infinite loop */
	  for (;;)
	  {
		  if (osOK == osMessageQueueGet((osMessageQueueId_t)MotorControlQueueHandle,
									    (void *)&stepmotor_para,
									    (uint8_t *)&msg_prio,
									    (uint32_t)osWaitForever))
		  {
			  switch (stepmotor_para.stepmotor)
			  {
			  case STEPMOTOR_X:
				  // TODO check warning bits of stepmotor
				  stepmotor_x_run(stepmotor_para.direction, stepmotor_para.degree);
				  break;

			  case STEPMOTOR_Y:
				  // TODO check warning bits of stepmotor
				  stepmotor_y_run(stepmotor_para.direction, stepmotor_para.degree);
				  break;

			  default:
				  break;
			  }
		  }
		  osDelay(1);
	  }
  /* USER CODE END StartMotorContorlTask */
}

/* USER CODE BEGIN Header_StartIPCUartTask */
/**
* @brief Function implementing the IPCUartTask thread.
* @param argument: Not used
* @retval None
*
* Function: sort the command from the master.
*
*/
/* USER CODE END Header_StartIPCUartTask */
void StartIPCUartTask(void *argument)
{
  /* USER CODE BEGIN StartIPCUartTask */
	uint8_t msg_prio;
	uint8_t recv_data[DMA_RECV_LEN] = {0};
	uint8_t cmd_len;  // command length
	osStatus_t status;

  /* Infinite loop */
  for (;;)
  {
	  status = osMessageQueueGet((osMessageQueueId_t)IPCUartQueueHandle,
			  	  	  	  		 (void *)recv_data,
								 (uint8_t *)&msg_prio,
								 (uint32_t)osWaitForever);
	  if (status == osOK)
	  {
		  if (recv_data[0] == LASER_COMMEND_HEAD1 &&
			  recv_data[1] == LASER_COMMEND_HEAD2)  // of the laser commands
		  {
			  osMessageQueuePut((osMessageQueueId_t)LaserEthernetQueueHandle,
			  					(const void *)recv_data,
			  					(uint8_t)msg_prio,
			  					(uint32_t)osWaitForever);
		  }
		  else if (recv_data[0] == BOARD_COMMEND_HEAD1 &&
				   recv_data[1] == BOARD_COMMEND_HEAD2)  // of the board commands
		  {
			  cmd_len = recv_data[2];
			  if (recv_data[3] == BOARD_ADDRESS &&
				  get_add(recv_data, cmd_len+2) == recv_data[cmd_len+2])
			  {
				  osMessageQueuePut((osMessageQueueId_t)CmdhandleQueueHandle,
				  					(const void *)recv_data,
				  					(uint8_t)msg_prio,
				  					(uint32_t)osWaitForever);
			  }
		  }
	  }
    osDelay(1);
  }
  /* USER CODE END StartIPCUartTask */
}

/* USER CODE BEGIN Header_StartCCDUartTask */
/**
* @brief Function implementing the CCDUartTask thread.
* @param argument: Not used
* @retval None
*
* Function: check the data header from CCD,
*           and call seam_find subprogram
*/
/* USER CODE END Header_StartCCDUartTask */
void StartCCDUartTask(void *argument)
{
  /* USER CODE BEGIN StartCCDUartTask */
	uint8_t msg_prio;
	uint8_t recv_data[DMA_RECV_LEN];
	uint16_t recv_len;
	osStatus_t status;
	uint16_t i;
	uint16_t slot_location[3648]; // data of slot to be welding

  /* Infinite loop */
	for (;;)
	{
		status = osMessageQueueGet((osMessageQueueId_t)CCDUartQueueHandle,
	  	  	  	 	               (void *)recv_data,
				                   (uint8_t *)&msg_prio,
				                   (uint32_t)osWaitForever);
		if (status == osOK)
		{
		  if (recv_data[0]==0x3c && recv_data[1]==0xc3 &&
			  recv_data[2]==0x33 && recv_data[3]==0xcc)  // CCD header check
			{
				recv_len = osMessageQueueGetMsgSize(CCDUartQueueHandle);

				//-- pass through to the master computer
				IPC_UART_SendData(recv_data, recv_len);

				//-- collect the data of slot.
				// each pixel contains 2 bytes, in which it used the lower 4 bits
				//   in the first byte and all 8 bits in the second byte.
				for (i=4; i<recv_len-2; i+=2)
				{
					slot_location[i/2-2] = (recv_data[i]<<4) | recv_data[i+1];
				}
				//-- find the slot by the Gaussian fitting
				find_seam(slot_location);
			}
		}

	  osDelay(100);
	}
  /* USER CODE END StartCCDUartTask */
}

/* TimeCountCallback function */
void TimeCountCallback(void *argument)
{
  /* USER CODE BEGIN TimeCountCallback */
	//-- get current time and data from system clock.
	HAL_RTC_GetTime(&hrtc, &TimeNow, RTC_FORMAT_BIN);
	HAL_RTC_GetDate(&hrtc, &DateNow, RTC_FORMAT_BIN);

  /* USER CODE END TimeCountCallback */
}

/* CheckCCDCallback function */
void CheckCCDCallback(void *argument)
{
  /* USER CODE BEGIN CheckCCDCallback */
  //-- read data from CCD, the command to ask CCD data is
  //   @c0080#@ in ASCII code, defined by the TCD 1304CCD driver.

  uint8_t check_ccd_cmd[8];

  check_ccd_cmd[0] = 0x40;
  check_ccd_cmd[1] = 0x63;
  check_ccd_cmd[2] = 0x30;
  check_ccd_cmd[3] = 0x30;
  check_ccd_cmd[4] = 0x38;
  check_ccd_cmd[5] = 0x23;
  check_ccd_cmd[6] = 0x30;
  check_ccd_cmd[7] = 0x40;

  CCD_UART_SendData(check_ccd_cmd, sizeof(check_ccd_cmd));
  /* USER CODE END CheckCCDCallback */
}

void HAL_TIM_PeriodElapsedCallback(TIM_HandleTypeDef *htim)
{
  if (htim->Instance == TIM6) {
    HAL_IncTick();
  }
  /* USER CODE BEGIN Callback 1 */
  else if (htim->Instance == TIM7)
  {
    // TODO LED lights periodically
  }
  /* USER CODE END Callback 1 */
}

void Error_Handler(void)
{
  __disable_irq();
  while (1)
  {
  }
}
